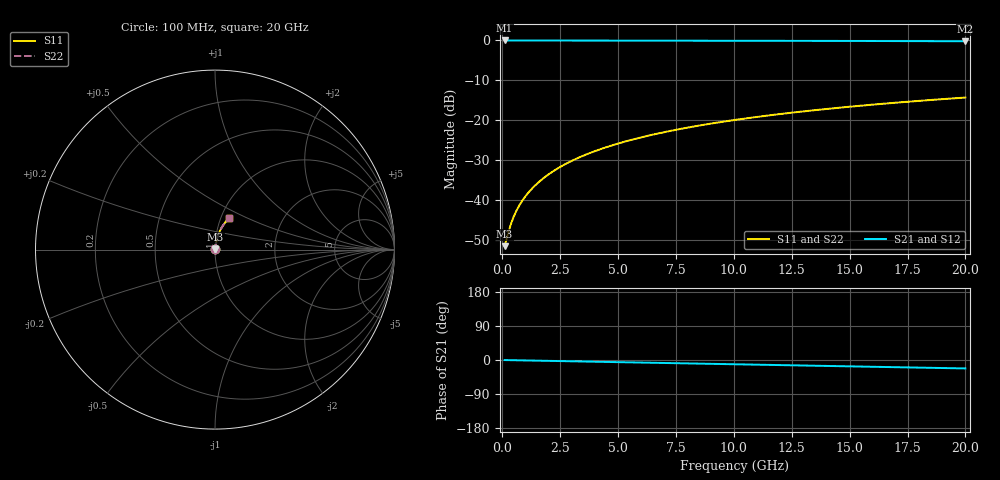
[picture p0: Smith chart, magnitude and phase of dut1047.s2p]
! Touchstone file exported from HFSS 2026.1.0
!  File:  C:/ffzhzh/LocalFiles/Ansys_Project_Files/temp_train_TMRDL_1047_1783160327_55132.aedt
!  Generated:  06:20:01 PM Jul  4, 2026
!  Design:  TMRDL
!  Project:  temp_train_TMRDL_1047_1783160327_55132
! Variables:
!  h_bsmrdl = 2um
!  h_ox = 20um
!  h_rdl = 5um
!  h_sub = 80um
!  h_tmrdl = 2.1um
!  h_tsv = 80um
!  h_via = 3um
!  l_bsmrdl = 300um
!  l_sub = 705.82um
!  l_tmrdl = 305.82um
!  m_sub = 200um
!  pitch = 45.72um
!  r_tsv = 6um
!  s_tmrdl = 10um
!  w_bsmrdl = 18um
!  w_sub = 500um
!  w_tmrdl = 26.8um
!  x_tsv_center1 = 319.22um
!  x_tsv_center2 = 637.22um
!  x_tsv_center3 = 969.84um
!  x_tsv_center4 = 1287.84um
!  x_tsv_center5 = 1620.46um
!  x_tsv_center6 = 1938.46um
# GHz S MA R 50.000000
! Terminal data exported
! Port[1] = TM_RDL1_1_T1
! Port[2] = TM_RDL1_1_T2
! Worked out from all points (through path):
!   200 points, 100 MHz to 20 GHz, reference 50 ohm
!   highest |S21| = -0.02 dB at 100 MHz (marker M1); lowest = -0.2 dB at 20 GHz (marker M2)
!   group delay of S21, straight-line fit = 3.09 ps
!   lowest |S11| = -51.6 dB at 100 MHz (marker M3), VSWR 1.01, Z = 50.2 + j0.118 ohm
!   |S11| at or under -10 dB: start of sweep to end of sweep
!   |S22| runs from -51.6 to -14.3 dB; largest |S21 - S12| = 4e-15
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0.1  0.002637 26.5  0.9976 -0.1  0.9976 -0.1  0.002637 26.5
! Gamma 0 0 0 0
! Port Impedance 50 0 50 0
0.3  0.004285 53.6  0.9975 -0.4  0.9975 -0.4  0.004285 53.6
0.4  0.00526 59.6  0.9974 -0.5  0.9974 -0.5  0.00526 59.6
0.5  0.006246 63.5  0.9972 -0.6  0.9972 -0.6  0.006246 63.5
0.6  0.00723 66.3  0.9972 -0.7  0.9972 -0.7  0.007229 66.3
0.7  0.008208 68.4  0.9971 -0.8  0.9971 -0.8  0.008208 68.4
0.9  0.01015 71.5  0.9969 -1.1  0.9969 -1.1  0.01015 71.5
1.2  0.01307 74.5  0.9968 -1.4  0.9968 -1.4  0.01307 74.5
1.4  0.01503 75.9  0.9967 -1.6  0.9967 -1.6  0.01503 75.9
1.7  0.01798 77.4  0.9966 -2.0  0.9966 -2.0  0.01798 77.4
2.2  0.02293 79.0  0.9964 -2.5  0.9964 -2.5  0.02293 79.0
2.8  0.02892 79.9  0.9962 -3.2  0.9962 -3.2  0.02892 79.9
3.5  0.03593 80.4  0.9958 -4.0  0.9958 -4.0  0.03592 80.4
4.2  0.04294 80.4  0.9955 -4.8  0.9955 -4.8  0.04294 80.4
5  0.05094 80.1  0.995 -5.7  0.995 -5.7  0.05094 80.1
5.9  0.05992 79.6  0.9943 -6.7  0.9943 -6.7  0.05992 79.6
6.8  0.06885 78.9  0.9936 -7.7  0.9936 -7.7  0.06885 79.0
8.3  0.08364 77.7  0.9922 -9.4  0.9922 -9.4  0.08364 77.7
10.1  0.1012 76.0  0.9903 -11.4  0.9903 -11.4  0.1012 76.0
13.4  0.1326 72.6  0.9859 -15.1  0.9859 -15.1  0.1326 72.7
16.7  0.163 69.2  0.9806 -18.7  0.9806 -18.7  0.163 69.2
20  0.1922 65.8  0.9747 -22.2  0.9747 -22.2  0.1922 65.8
